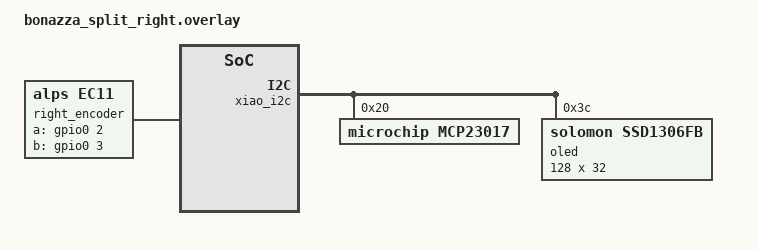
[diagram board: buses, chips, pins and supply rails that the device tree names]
#include "bonazza_split.dtsi"

&default_transform {
    col-offset = <8>;
};

&xiao_i2c {
    status = "okay";
    mcp23017: mcp23017@20 {
        compatible = "microchip,mcp23017";
        reg = <0x20>;
        gpio-controller;
        #gpio-cells = <2>;
        ngpios = <16>;
    };

    oled: ssd1306@3c {
        compatible = "solomon,ssd1306fb";
        reg = <0x3c>;
        width = <128>;
        height = <32>;
        segment-offset = <0>;
        page-offset = <0>;
        display-offset = <0>;
        multiplex-ratio = <31>;
        segment-remap;
        com-invdir;
        com-sequential;
        prechargep = <0x22>;
    };
};

/ {
    chosen {
        zephyr,display = &oled;
    };

    right_encoder: encoder_right {
        compatible = "alps,ec11";
        a-gpios = <&gpio0 2 (GPIO_ACTIVE_HIGH | GPIO_PULL_UP)>;
        b-gpios = <&gpio0 3 (GPIO_ACTIVE_HIGH | GPIO_PULL_UP)>;
        steps = <80>;
        status = "okay";
    };

    sensors: sensors {
        compatible = "zmk,keymap-sensors";
        sensors = <&right_encoder>;
        triggers-per-rotation = <20>;
    };
};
